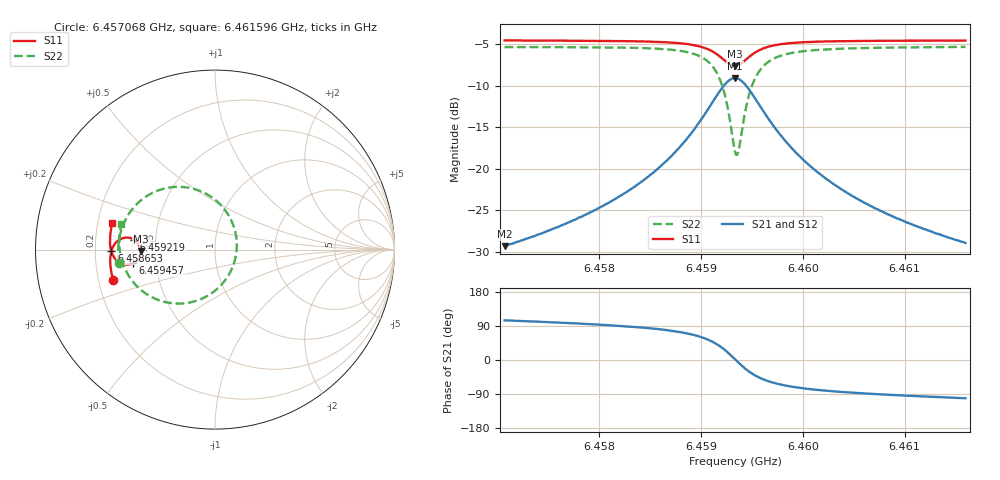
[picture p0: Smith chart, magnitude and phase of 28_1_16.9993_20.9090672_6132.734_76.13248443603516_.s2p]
#  HZ  S  RI  R  50.00
! Rohde & Schwarz Vector Network Analyzer
! Rohde-Schwarz,ZNB20-2Port,1311601062101988,3.16
! Created: UTC 3/20/2024, 10:53:16 PM
! freq[Hz]  re:S11  im:S11  re:S21  im:S21  re:S12  im:S12  re:S22  im:S22
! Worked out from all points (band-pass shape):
!   401 points, 6.457068 GHz to 6.461596 GHz, reference 50 ohm
!   highest |S21| = -9.09 dB at 6.459332 GHz (marker M1); lowest = -29.3 dB at 6.457068 GHz (marker M2)
!   |S21| within 3 dB of the highest: 6.459106 GHz to 6.459559 GHz (452.5 kHz wide, 0.00701 % of centre)
!   lowest |S11| = -7.6 dB at 6.459332 GHz (marker M3), VSWR 2.42, Z = 20.7 - j0.416 ohm
!   |S11| at or under -10 dB: nowhere
!   |S22| runs from -18.3 to -5.3 dB; largest |S21 - S12| = 0.014
!   S11 on the Smith chart (normalised r, x): 6.457068 GHz: 0.26, -0.13; 6.458653 GHz: 0.27, -0.01; 6.459219 GHz: 0.38, +0.05; 6.459457 GHz: 0.37, -0.07; 6.461596 GHz: 0.26, +0.12
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6.4570684e9  -0.568 -0.1667  -0.00853 0.033  -0.00681 0.033  -0.5346 -0.0762
6.4578268e9  -0.5812 -0.0999  -0.00514 0.0511  -0.00258 0.0506  -0.5386 0.0137
6.4582343e9  -0.5836 -0.059  0.000781 0.0702  0.00406 0.0689  -0.5299 0.0789
6.4585852e9  -0.5794 -0.0166  0.0154 0.1001  0.0193 0.0972  -0.5028 0.1586
6.4586531e9  -0.5771 -0.00715  0.0208 0.1085  0.0249 0.1052  -0.4924 0.1787
6.4588456e9  -0.5642 0.0232  0.0479 0.1397  0.052 0.1348  -0.4414 0.2479
6.4589927e9  -0.5411 0.0495  0.0942 0.1702  0.0971 0.1636  -0.3562 0.3121
6.4591286e9  -0.4964 0.0669  0.1826 0.1866  0.1833 0.1792  -0.1946 0.3495
6.4592191e9  -0.4511 0.0561  0.2737 0.1543  0.2737 0.1486  -0.0261 0.2969
6.459287e9  -0.4216 0.0233  0.3346 0.0809  0.3369 0.0758  0.0901 0.1645
6.4593323e9  -0.4147 -0.00832  0.3509 0.0119  0.3546 0.005  0.1215 0.0352
6.4593663e9  -0.4187 -0.0325  0.3446 -0.0415  0.3487 -0.0506  0.109 -0.0658
6.4594115e9  -0.4348 -0.0591  0.3153 -0.1021  0.3175 -0.1141  0.0492 -0.1803
6.4594568e9  -0.4572 -0.0758  0.2722 -0.1434  0.2713 -0.1569  -0.0381 -0.2555
6.4595474e9  -0.5014 -0.0827  0.1857 -0.1746  0.1796 -0.1862  -0.21 -0.3007
6.4596153e9  -0.526 -0.0752  0.1367 -0.1721  0.1286 -0.1812  -0.3045 -0.2846
6.4596945e9  -0.546 -0.0622  0.0966 -0.1597  0.088 -0.166  -0.3796 -0.2489
6.459853e9  -0.5678 -0.0342  0.0513 -0.131  0.0435 -0.1338  -0.4602 -0.1753
6.4600907e9  -0.5806 0.00128  0.0219 -0.0988  0.0161 -0.0993  -0.5081 -0.0917
6.4604643e9  -0.5852 0.0458  0.00504 -0.0695  0.00104 -0.0689  -0.53 -0.00548
6.4608491e9  -0.5832 0.0844  -0.0017 -0.0527  -0.00456 -0.0518  -0.533 0.0562
6.4615962e9  -0.5713 0.1509  -0.0067 -0.035  -0.00845 -0.0342  -0.5212 0.1453
